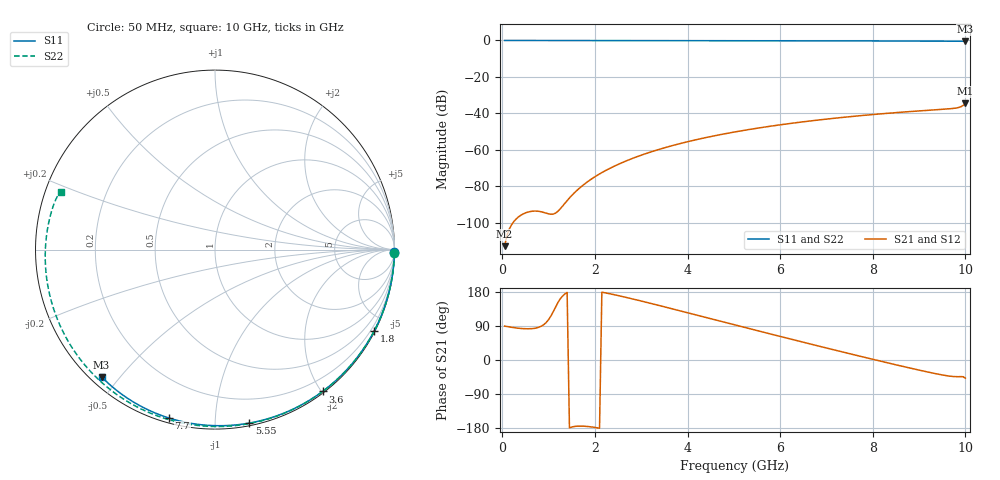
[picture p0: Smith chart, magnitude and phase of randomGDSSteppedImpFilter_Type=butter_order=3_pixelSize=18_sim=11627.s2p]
! freq	dB(S11)	phase(S11)	dB(S12)	phase(S12)
!  dB(S21)	phase(S21)	dB(S22)	phase(S22)
!S-par simulation data
#  GHz  S  DB  R 50
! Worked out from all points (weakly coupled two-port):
!   200 points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, 50 MHz to 10 GHz, reference 50 ohm
!   highest |S21| = -34.57 dB at 10 GHz (marker M1); lowest = -113.0 dB at 50 MHz (marker M2)
!   lowest |S11| = -0.4 dB at 10 GHz (marker M3), VSWR 39.11, Z = 1.54 - j22.4 ohm
!   |S11| at or under -10 dB: nowhere
!   |S22| runs from -0.8 to 0.0 dB; largest |S21 - S12| = 0
!   S11 on the Smith chart (normalised r, x): 50 MHz: open; 1.8 GHz: 0.04, -4.16; 3.6 GHz: 0.02, -2.01; 5.55 GHz: 0.02, -1.22; 7.7 GHz: 0.02, -0.76; 10 GHz: 0.03, -0.45
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0.05  -0.00 -0.8  -112.96 89.5  -112.96 89.5  -0.00 -1.1
0.45  -0.01 -6.8  -95.26 82.8  -95.26 82.8  -0.01 -10.2
0.85  -0.02 -12.9  -94.11 89.8  -94.11 89.8  -0.02 -19.2
1.7  -0.03 -25.5  -80.36 -174.4  -80.36 -174.4  -0.05 -37.9
1.75  -0.03 -26.3  -79.32 -174.6  -79.32 -174.6  -0.05 -39.0
1.8  -0.03 -27.0  -78.34 -175.0  -78.34 -175.0  -0.05 -40.1
2.1  -0.04 -31.4  -73.29 -179.9  -73.29 -179.9  -0.06 -46.5
2.5  -0.05 -37.2  -68.06 170.1  -68.06 170.1  -0.07 -55.0
2.9  -0.06 -42.9  -63.91 158.6  -63.91 158.6  -0.08 -63.4
3.4  -0.07 -50.0  -59.69 143.4  -59.69 143.4  -0.10 -73.6
3.6  -0.07 -52.8  -58.23 137.2  -58.23 137.2  -0.10 -77.6
4.3  -0.09 -62.4  -53.85 115.3  -53.85 115.3  -0.13 -91.3
5.05  -0.11 -72.4  -50.10 91.7  -50.10 91.7  -0.16 -105.6
5.55  -0.13 -78.9  -48.00 76.1  -48.00 76.1  -0.19 -114.9
6.1  -0.15 -85.8  -45.97 59.1  -45.97 59.1  -0.22 -125.0
6.7  -0.18 -93.3  -44.05 40.7  -44.05 40.7  -0.26 -135.9
7.7  -0.24 -105.3  -41.37 10.7  -41.37 10.7  -0.35 -154.3
8.35  -0.29 -112.9  -39.93 -8.4  -39.93 -8.4  -0.41 -166.6
9.1  -0.35 -121.5  -38.51 -29.4  -38.51 -29.4  -0.50 178.7
9.75  -0.42 -128.9  -37.28 -43.7  -37.28 -43.7  -0.60 164.9
9.9  -0.44 -130.6  -36.42 -43.9  -36.42 -43.9  -0.66 161.4
10  -0.44 -131.7  -34.57 -48.0  -34.57 -48.0  -0.78 159.4
